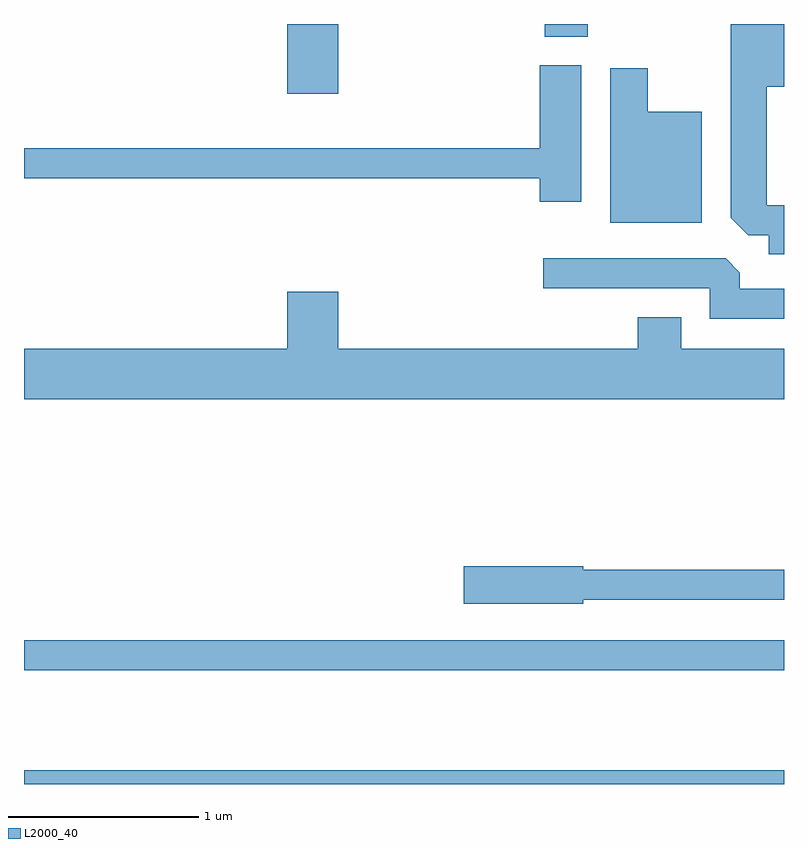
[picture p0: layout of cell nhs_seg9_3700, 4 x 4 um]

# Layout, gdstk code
import gdstk
lib = gdstk.Library(unit=1e-6, precision=1e-09)
def R(c, l, rs):  # rectangles x0, y0, x1, y1
    for r in rs: c.add(gdstk.rectangle(r[:2], r[2:], *l))
def P(c, l, *ps):  # polygons
    for p in ps: c.add(gdstk.Polygon(p, *l))
L2000_40 = (2000, 40)

nhs_seg9_3700 = lib.new_cell('nhs_seg9_3700')
R(nhs_seg9_3700, L2000_40, [(293.611,2016.432,297.611,2016.504), (293.611,2017.031,297.611,2017.189), (294.996,2020.066,295.264,2020.432), (296.351,2020.366,296.579,2020.432)])
P(nhs_seg9_3700, L2000_40, [(297.611,2019.479),(297.519,2019.479),(297.519,2020.101),(297.611,2020.101),(297.611,2020.432),(297.331,2020.432),(297.331,2019.412),(297.422,2019.321),(297.531,2019.321),(297.531,2019.221),(297.611,2019.221)],
  [(296.544,2020.214),(296.326,2020.214),(296.326,2019.779),(293.611,2019.779),(293.611,2019.621),(296.326,2019.621),(296.326,2019.496),(296.544,2019.496)],
  [(297.179,2019.969),(296.894,2019.969),(296.894,2020.199),(296.696,2020.199),(296.696,2019.386),(297.179,2019.386)],
  [(297.611,2019.039),(297.379,2019.039),(297.379,2019.124),(297.304,2019.199),(296.343,2019.199),(296.343,2019.041),(297.221,2019.041),(297.221,2018.881),(297.611,2018.881)],
  [(297.611,2018.724),(297.069,2018.724),(297.069,2018.889),(296.841,2018.889),(296.841,2018.724),(295.264,2018.724),(295.264,2019.024),(294.996,2019.024),(294.996,2018.724),(293.611,2018.724),(293.611,2018.456),(297.611,2018.456)],
  [(296.554,2017.401),(297.611,2017.401),(297.611,2017.559),(296.554,2017.559),(296.554,2017.579),(295.926,2017.579),(295.926,2017.381),(296.554,2017.381)])

lib.write_gds('nhs_seg9_3700.gds')
